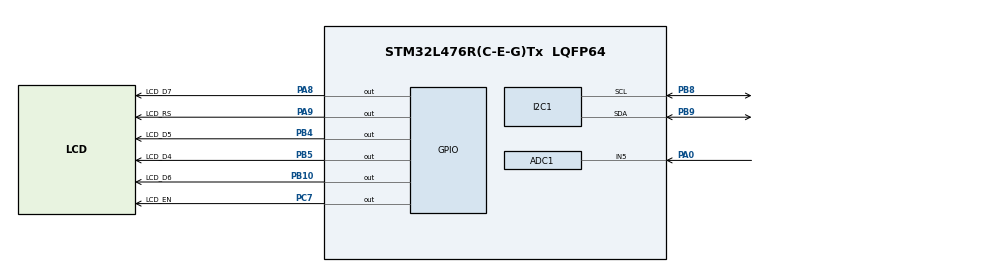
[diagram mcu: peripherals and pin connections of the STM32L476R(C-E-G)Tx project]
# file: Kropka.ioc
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ADC1.Channel-0\#ChannelRegularConversion=ADC_CHANNEL_5
ADC1.NbrOfConversionFlag=1
ADC1.OffsetNumber-0\#ChannelRegularConversion=ADC_OFFSET_NONE
ADC1.Rank-0\#ChannelRegularConversion=1
ADC1.SamplingTime-0\#ChannelRegularConversion=ADC_SAMPLETIME_2CYCLES_5
ADC1.master=1
Mcu.Family=STM32L4
Mcu.Name=STM32L476R(C-E-G)Tx
Mcu.Package=LQFP64
NVIC.PriorityGroup=NVIC_PRIORITYGROUP_4
PA0.Signal=ADCx_IN5
PA8.GPIO_Label=LCD_D7
PA8.Signal=GPIO_Output
PA9.GPIO_Label=LCD_RS
PA9.Signal=GPIO_Output
PB10.GPIO_Label=LCD_D6
PB10.Signal=GPIO_Output
PB4\ (NJTRST).GPIO_Label=LCD_D5
PB4\ (NJTRST).Signal=GPIO_Output
PB5.GPIO_Label=LCD_D4
PB5.Signal=GPIO_Output
PB8.Mode=I2C
PB8.Signal=I2C1_SCL
PB9.Mode=I2C
PB9.Signal=I2C1_SDA
PC7.GPIO_Label=LCD_EN
PC7.Signal=GPIO_Output
ProjectManager.HeapSize=0x200
ProjectManager.StackSize=0x400
ProjectManager.TargetToolchain=STM32CubeIDE
RCC.ADCFreq_Value=32000000
RCC.HSE_VALUE=8000000
RCC.HSI_VALUE=16000000
RCC.LSE_VALUE=32768
RCC.MSI_VALUE=4000000
RCC.PLLSAI1N=16
RCC.USBFreq_Value=32000000
RCC.VCOOutputFreq_Value=32000000
SH.ADCx_IN5.0=ADC1_IN5,IN5-Single-Ended
board=custom

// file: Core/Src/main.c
/* USER CODE BEGIN Header */
/**
  ******************************************************************************
  * @file           : main.c
  * @brief          : Main program body
  ******************************************************************************
  * @attention
  *
  * Copyright (c) 2024 STMicroelectronics.
  * All rights reserved.
  *
  * This software is licensed under terms that can be found in the LICENSE file
  * in the root directory of this software component.
  * If no LICENSE file comes with this software, it is provided AS-IS.
  *
  ******************************************************************************
  */
/* USER CODE END Header */
#include "main.h"

/* USER CODE BEGIN Includes */
#include "lcd.h"
/* USER CODE END Includes */

ADC_HandleTypeDef hadc1;

I2C_HandleTypeDef hi2c1;

void SystemClock_Config(void);
static void MX_GPIO_Init(void);
static void MX_I2C1_Init(void);
static void MX_ADC1_Init(void);

/* USER CODE BEGIN 0 */

volatile int x = 0;
volatile int y = 0;
volatile unsigned char map[256];
volatile unsigned char cmap[32];

volatile unsigned char customs[7][8];

void create_customs() {
	//znak1
	customs[0][0] = 0b01010;
	customs[0][1] = 0b01010;
	customs[0][2] = 0b01010;
	customs[0][4] = 0b00000;
	customs[0][3] = 0b00000;
	customs[0][5] = 0b01010;
	customs[0][6] = 0b01010;
	customs[0][7] = 0b01010;

	//znak2
	customs[1][0] = 0b11011;
	customs[1][1] = 0b00000;
	customs[1][2] = 0b11011;
	customs[1][4] = 0b11011;
	customs[1][3] = 0b11011;
	customs[1][5] = 0b11011;
	customs[1][6] = 0b00000;
	customs[1][7] = 0b11011;

	//znak3
	customs[2][0] = 0b00000;
	customs[2][1] = 0b00100;
	customs[2][2] = 0b00100;
	customs[2][4] = 0b00101;
	customs[2][3] = 0b10100;
	customs[2][5] = 0b00100;
	customs[2][6] = 0b00100;
	customs[2][7] = 0b00000;

	//znak4
	customs[3][0] = 0b00100;
	customs[3][1] = 0b01110;
	customs[3][2] = 0b00000;
	customs[3][4] = 0b11011;
	customs[3][3] = 0b11011;
	customs[3][5] = 0b00000;
	customs[3][6] = 0b01110;
	customs[3][7] = 0b00100;

	//znak5
	customs[4][0] = 0b10001;
	customs[4][1] = 0b10001;
	customs[4][2] = 0b11011;
	customs[4][4] = 0b00000;
	customs[4][3] = 0b00000;
	customs[4][5] = 0b11011;
	customs[4][6] = 0b10001;
	customs[4][7] = 0b10001;

	//znak6
	customs[5][0] = 0b11011;
	customs[5][1] = 0b00000;
	customs[5][2] = 0b10101;
	customs[5][4] = 0b00100;
	customs[5][3] = 0b00100;
	customs[5][5] = 0b10101;
	customs[5][6] = 0b00000;
	customs[5][7] = 0b11011;

	//znak7
	customs[6][0] = 0b00000;
	customs[6][1] = 0b01010;
	customs[6][2] = 0b11011;
	customs[6][4] = 0b01000;
	customs[6][3] = 0b00010;
	customs[6][5] = 0b11011;
	customs[6][6] = 0b01010;
	customs[6][7] = 0b00000;

	for(int k = 0; k<7; k++) {
		lcd_cmd(0x40 + (k + 1) * 8);
		for (int i = 0; i < 8; i++) {
			lcd_char_cp(customs[k][i]);
		}
	}

	//template
	/*
	 * customs[0][0] = 0b00000;
	customs[0][1] = 0b00000;
	customs[0][2] = 0b00000;
	customs[0][4] = 0b00000;
	customs[0][3] = 0b00000;
	customs[0][5] = 0b00000;
	customs[0][6] = 0b00000;
	customs[0][7] = 0b00000;
	 */

}

void create_map() {

	for(int i = 0; i < 32; i++) {
		cmap[i] = ' ';
	}

	for(int i = 1; i<16; i++) {
		int prz = rand() % 7;
		cmap[i] = 1 + prz;
		for (int j = 0; j < 8; j++) {
			map[i * 8 + j] = customs[prz][j];
		}
	}
	for(int i = 0; i<15; i++) {
		int prz = rand() % 7;
		cmap[16 + i] = 1 + prz;
		for (int j = 0; j < 8; j++) {
			map[128 + i * 8 + j] = customs[prz][j];
		}
	}

	//int row
//	int k = 16;
//	cmap[k/8] = 1;
//	for (int i = 0; i < 8; i++) {
//		map[k + i] = customs[0][i];
//	}
//
//	k = 80;
//	cmap[k/8] = 2;
//	for (int i = 0; i < 8; i++) {
//		map[k + i] = customs[1][i];
//	}

	for (int i = 0; i < 16; i++) {
		lcd_char(1, i + 1, cmap[i]);
	}
	for (int i = 0; i < 16; i++) {
		lcd_char(2, i + 1, cmap[16 + i]);
	}
}

void create_char(int addr, int x, int y, char p) {

	int mx = x % 5;
	int my = y % 8;

	lcd_cmd(addr);
	for(int i = 0; i < 8; i++) {
		int col = x / 5;
		int row = y / 8;

		int player = (i == my) ? (1 << (4 - mx)) : 0;
		int m = map[(col * 8) + i % 8 + (row * 128)];

		lcd_char_cp(m | (p ? player : 0));
	}
}

void move(int d) {

}

/* USER CODE END 0 */

int main(void)
{

  /* MCU Configuration--------------------------------------------------------*/

  /* Reset of all peripherals, Initializes the Flash interface and the Systick. */
  HAL_Init();

  /* Configure the system clock */
  SystemClock_Config();

  /* Initialize all configured peripherals */
  MX_GPIO_Init();
  MX_I2C1_Init();
  MX_ADC1_Init();
  /* USER CODE BEGIN 2 */

  HAL_ADCEx_Calibration_Start(&hadc1, ADC_SINGLE_ENDED);

  lcd_init(_LCD_4BIT, _LCD_FONT_5x8, _LCD_2LINE);

  lcd_clear();

  create_customs();
  //create(0x40, 3, 5);

  //lcd_char(1, 1, 0);
  //lcd_char(1, 1, 2);
  //lcd_char(1, 2, 0);

  //create(0x40, 2, 3);

  int x = 1;
  int y = 1;

  int move_t = 0;
  int move_cd = 5;

  int start = 0;
  int frame = 0;

  int state = 0; // PRE = 0, INGAME = 1, SCORE = 2

  int score = 0;

  lcd_clear();
  lcd_print(1, 1, "  Press SELECT");
  lcd_print(2, 1, "    to play");

  //lcd_print(1, 1, "Hello World");
  /* USER CODE END 2 */

  /* Infinite loop */
  /* USER CODE BEGIN WHILE */
  while (1)
  {
	  //continue;

	  HAL_ADC_Start(&hadc1);
	  HAL_ADC_PollForConversion(&hadc1, 2500);
	  int k = (300 + HAL_ADC_GetValue(&hadc1)) / 700;

	  if(state == 0) {
		  if(k != 4) {
			  continue;
		  }
		  start = frame;
		  score = 0;
		  create_map();

		  x = 1;
		  y = 1;

		  state = 1;
		  continue;
	  }

	  if(state == 2) {
		  if(k != 4) {
			  continue;
		  }
		  start = frame;
		  score = 0;
		  create_map();

		  x = 1;
		  y = 1;

		  state = 1;
		  continue;
	  }

	  if((frame - start)/2 >= 1000) {
		  score = 1000 * (x - 79 + y - 15) / 94;

		  lcd_clear();
		  lcd_line1();
		  lcd_print(1, 1, "     SCORE:");
		  char buffer[16] = {' '};
		  sprintf(buffer, "       %d", score);
		  lcd_line2();
		  lcd_print(2, 1, buffer);

		  state = 2;
		  continue;
	  }

	  if(frame > move_t) {
		  int px = x;
		  int py = y;
		  switch(k) {
		  case 0:
			  x += 1;
		  break;

		  case 1:
			  y -= 1;
		  break;

		  case 2:
			  y += 1;
		  break;

		  case 3:
			  x -= 1;
		  break;
		  }

		  if(x == 80 - 1 && y == 16 - 1) {
			  score = 1000 - (frame - start)/2;

			  lcd_clear();
			  lcd_print(1, 1, "     SCORE:");
			  char buffer[16] = {' '};
			  sprintf(buffer, "      %d", score);
			  lcd_print(2, 1, buffer);

			  state = 2;
			  continue;
		  }

		  int col = x / 5;
		  int row = y / 8;

		  char cant = (map[(col * 8) + y % 8 + (row * 128)] >> (4 - x % 5)) & 1;

		  if(cant || x < 0 || x >= 80 || y < 0 || y >= 16) {
			  x = px;
			  y = py;
		  } else {
			  if (x / 5 != px / 5) {
				  int row = y / 8;
				  int col = px / 5;

				  lcd_char(1 + row, 1 + col, cmap[row * 16 + col]);
			  }
			  if (y / 8 != py / 8) {
				  int row = py / 8;
				  int col = x / 5;

				  lcd_char(1 + row, 1 + col, cmap[row * 16 + col]);
			  }

			  move_t = frame + move_cd;
		  }

	  }

	  create_char(0x40, x, y, (frame / 10) % 2);
	  lcd_char(1 + y / 8, 1 + x / 5, 0);

	  //lcd_print(1, 1, "Hello World");

	  frame += 1;
    /* USER CODE END WHILE */

  }
}

void SystemClock_Config(void)
{
  RCC_OscInitTypeDef RCC_OscInitStruct = {0};
  RCC_ClkInitTypeDef RCC_ClkInitStruct = {0};

  /** Configure the main internal regulator output voltage
  */
  if (HAL_PWREx_ControlVoltageScaling(PWR_REGULATOR_VOLTAGE_SCALE1) != HAL_OK)
  {
    Error_Handler();
  }

  /** Initializes the RCC Oscillators according to the specified parameters
  * in the RCC_OscInitTypeDef structure.
  */
  RCC_OscInitStruct.OscillatorType = RCC_OSCILLATORTYPE_MSI;
  RCC_OscInitStruct.MSIState = RCC_MSI_ON;
  RCC_OscInitStruct.MSICalibrationValue = 0;
  RCC_OscInitStruct.MSIClockRange = RCC_MSIRANGE_6;
  RCC_OscInitStruct.PLL.PLLState = RCC_PLL_NONE;
  if (HAL_RCC_OscConfig(&RCC_OscInitStruct) != HAL_OK)
  {
    Error_Handler();
  }

  /** Initializes the CPU, AHB and APB buses clocks
  */
  RCC_ClkInitStruct.ClockType = RCC_CLOCKTYPE_HCLK|RCC_CLOCKTYPE_SYSCLK
                              |RCC_CLOCKTYPE_PCLK1|RCC_CLOCKTYPE_PCLK2;
  RCC_ClkInitStruct.SYSCLKSource = RCC_SYSCLKSOURCE_MSI;
  RCC_ClkInitStruct.AHBCLKDivider = RCC_SYSCLK_DIV1;
  RCC_ClkInitStruct.APB1CLKDivider = RCC_HCLK_DIV1;
  RCC_ClkInitStruct.APB2CLKDivider = RCC_HCLK_DIV1;

  if (HAL_RCC_ClockConfig(&RCC_ClkInitStruct, FLASH_LATENCY_0) != HAL_OK)
  {
    Error_Handler();
  }
}

static void MX_ADC1_Init(void)
{

  ADC_MultiModeTypeDef multimode = {0};
  ADC_ChannelConfTypeDef sConfig = {0};

  /** Common config
  */
  hadc1.Instance = ADC1;
  hadc1.Init.ClockPrescaler = ADC_CLOCK_ASYNC_DIV1;
  hadc1.Init.Resolution = ADC_RESOLUTION_12B;
  hadc1.Init.DataAlign = ADC_DATAALIGN_RIGHT;
  hadc1.Init.ScanConvMode = ADC_SCAN_DISABLE;
  hadc1.Init.EOCSelection = ADC_EOC_SINGLE_CONV;
  hadc1.Init.LowPowerAutoWait = DISABLE;
  hadc1.Init.ContinuousConvMode = DISABLE;
  hadc1.Init.NbrOfConversion = 1;
  hadc1.Init.DiscontinuousConvMode = DISABLE;
  hadc1.Init.ExternalTrigConv = ADC_SOFTWARE_START;
  hadc1.Init.ExternalTrigConvEdge = ADC_EXTERNALTRIGCONVEDGE_NONE;
  hadc1.Init.DMAContinuousRequests = DISABLE;
  hadc1.Init.Overrun = ADC_OVR_DATA_PRESERVED;
  hadc1.Init.OversamplingMode = DISABLE;
  if (HAL_ADC_Init(&hadc1) != HAL_OK)
  {
    Error_Handler();
  }

  /** Configure the ADC multi-mode
  */
  multimode.Mode = ADC_MODE_INDEPENDENT;
  if (HAL_ADCEx_MultiModeConfigChannel(&hadc1, &multimode) != HAL_OK)
  {
    Error_Handler();
  }

  /** Configure Regular Channel
  */
  sConfig.Channel = ADC_CHANNEL_5;
  sConfig.Rank = ADC_REGULAR_RANK_1;
  sConfig.SamplingTime = ADC_SAMPLETIME_2CYCLES_5;
  sConfig.SingleDiff = ADC_SINGLE_ENDED;
  sConfig.OffsetNumber = ADC_OFFSET_NONE;
  sConfig.Offset = 0;
  if (HAL_ADC_ConfigChannel(&hadc1, &sConfig) != HAL_OK)
  {
    Error_Handler();
  }

}

static void MX_I2C1_Init(void)
{

  hi2c1.Instance = I2C1;
  hi2c1.Init.Timing = 0x00000E14;
  hi2c1.Init.OwnAddress1 = 0;
  hi2c1.Init.AddressingMode = I2C_ADDRESSINGMODE_7BIT;
  hi2c1.Init.DualAddressMode = I2C_DUALADDRESS_DISABLE;
  hi2c1.Init.OwnAddress2 = 0;
  hi2c1.Init.OwnAddress2Masks = I2C_OA2_NOMASK;
  hi2c1.Init.GeneralCallMode = I2C_GENERALCALL_DISABLE;
  hi2c1.Init.NoStretchMode = I2C_NOSTRETCH_DISABLE;
  if (HAL_I2C_Init(&hi2c1) != HAL_OK)
  {
    Error_Handler();
  }

  /** Configure Analogue filter
  */
  if (HAL_I2CEx_ConfigAnalogFilter(&hi2c1, I2C_ANALOGFILTER_ENABLE) != HAL_OK)
  {
    Error_Handler();
  }

  /** Configure Digital filter
  */
  if (HAL_I2CEx_ConfigDigitalFilter(&hi2c1, 0) != HAL_OK)
  {
    Error_Handler();
  }

}

static void MX_GPIO_Init(void)
{
  GPIO_InitTypeDef GPIO_InitStruct = {0};

  /* GPIO Ports Clock Enable */
  __HAL_RCC_GPIOA_CLK_ENABLE();
  __HAL_RCC_GPIOB_CLK_ENABLE();
  __HAL_RCC_GPIOC_CLK_ENABLE();

  /*Configure GPIO pin Output Level */
  HAL_GPIO_WritePin(GPIOB, LCD_D6_Pin|LCD_D5_Pin|LCD_D4_Pin, GPIO_PIN_RESET);

  /*Configure GPIO pin Output Level */
  HAL_GPIO_WritePin(LCD_EN_GPIO_Port, LCD_EN_Pin, GPIO_PIN_RESET);

  /*Configure GPIO pin Output Level */
  HAL_GPIO_WritePin(GPIOA, LCD_D7_Pin|LCD_RS_Pin, GPIO_PIN_RESET);

  /*Configure GPIO pins : LCD_D6_Pin LCD_D5_Pin LCD_D4_Pin */
  GPIO_InitStruct.Pin = LCD_D6_Pin|LCD_D5_Pin|LCD_D4_Pin;
  GPIO_InitStruct.Mode = GPIO_MODE_OUTPUT_PP;
  GPIO_InitStruct.Pull = GPIO_NOPULL;
  GPIO_InitStruct.Speed = GPIO_SPEED_FREQ_LOW;
  HAL_GPIO_Init(GPIOB, &GPIO_InitStruct);

  /*Configure GPIO pin : LCD_EN_Pin */
  GPIO_InitStruct.Pin = LCD_EN_Pin;
  GPIO_InitStruct.Mode = GPIO_MODE_OUTPUT_PP;
  GPIO_InitStruct.Pull = GPIO_NOPULL;
  GPIO_InitStruct.Speed = GPIO_SPEED_FREQ_LOW;
  HAL_GPIO_Init(LCD_EN_GPIO_Port, &GPIO_InitStruct);

  /*Configure GPIO pins : LCD_D7_Pin LCD_RS_Pin */
  GPIO_InitStruct.Pin = LCD_D7_Pin|LCD_RS_Pin;
  GPIO_InitStruct.Mode = GPIO_MODE_OUTPUT_PP;
  GPIO_InitStruct.Pull = GPIO_NOPULL;
  GPIO_InitStruct.Speed = GPIO_SPEED_FREQ_LOW;
  HAL_GPIO_Init(GPIOA, &GPIO_InitStruct);

}

void Error_Handler(void)
{
  __disable_irq();
  while (1)
  {
  }
}
